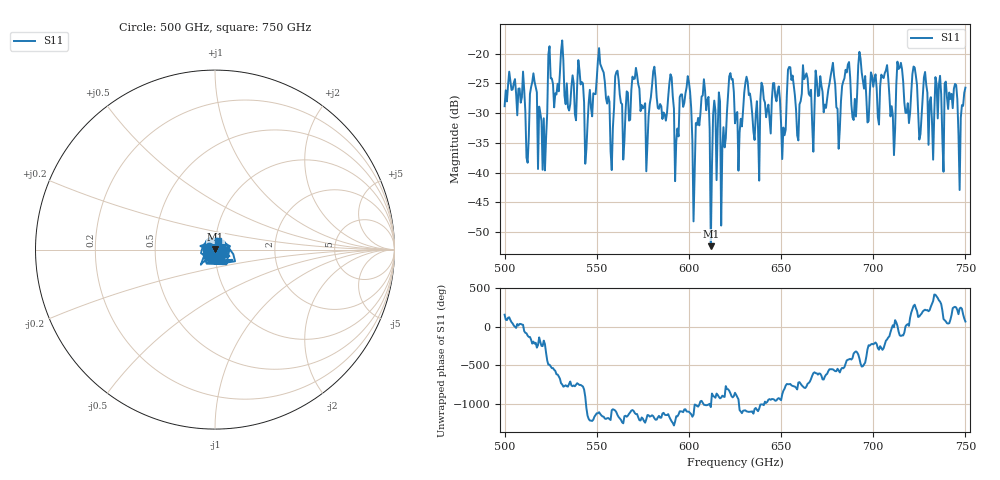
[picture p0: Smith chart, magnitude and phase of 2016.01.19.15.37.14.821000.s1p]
!Created with skrf (http://scikit-rf.org).
# GHz S RI R 50.0
!freq ReS11 ImS11
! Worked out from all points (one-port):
!   401 points, 500 GHz to 750 GHz, reference 50 ohm
!   lowest |S11| = -52.4 dB at 611.9 GHz (marker M1), VSWR 1.00, Z = 50.2 + j0.14 ohm
!   |S11| at or under -10 dB: start of sweep to end of sweep
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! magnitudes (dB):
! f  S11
! 500 GHz  -28.8
! 512.5 GHz  -38.3
! 516.2 GHz  -24.7
! 521.2 GHz  -30.9
! 525 GHz  -24.1
! 531.2 GHz  -17.8
! 544.4 GHz  -36.1
! 551.9 GHz  -21.7
! 558.1 GHz  -39.6
! 562.5 GHz  -26.9
! 576.9 GHz  -39.8
! 590 GHz  -23.5
! 593.8 GHz  -32.6
! 599.4 GHz  -23.8
! 603.1 GHz  -40.0
! 608.1 GHz  -24.3
! 611.9 GHz  -52.4
! 625 GHz  -31.7
! 647.5 GHz  -28.0
! 651.2 GHz  -32.4
! 656.2 GHz  -23.7
! 659.4 GHz  -34.6
! 687.5 GHz  -24.1
! 706.9 GHz  -22.8
! 710.6 GHz  -30.3
! 714.4 GHz  -22.4
! 718.8 GHz  -28.3
! 750 GHz  -25.7
